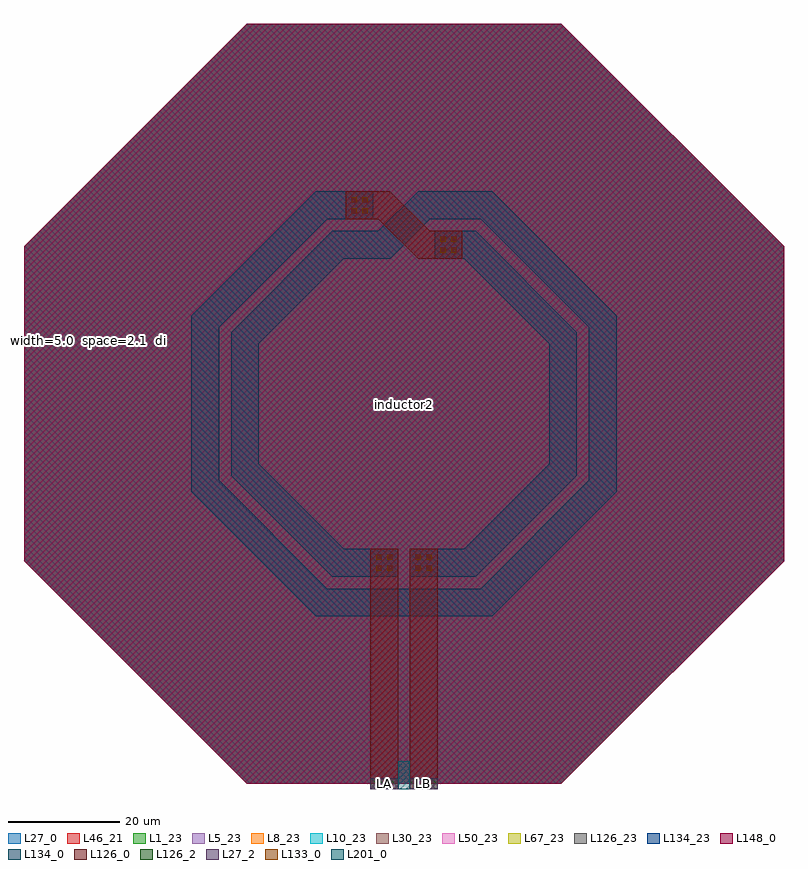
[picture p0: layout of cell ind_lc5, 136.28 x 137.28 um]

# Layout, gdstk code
import gdstk
lib = gdstk.Library(unit=1e-6, precision=1e-09)
def R(c, l, rs):  # rectangles x0, y0, x1, y1
    for r in rs: c.add(gdstk.rectangle(r[:2], r[2:], *l))
def P(c, l, *ps):  # polygons
    for p in ps: c.add(gdstk.Polygon(p, *l))
L1_23 = (1, 23)
L5_23 = (5, 23)
L8_23 = (8, 23)
L10_23 = (10, 23)
L27_0 = (27, 0)
L27_2 = (27, 2)
L30_23 = (30, 23)
L46_21 = (46, 21)
L50_23 = (50, 23)
L67_23 = (67, 23)
L126_0 = (126, 0)
L126_2 = (126, 2)
L126_23 = (126, 23)
L133_0 = (133, 0)
L134_0 = (134, 0)
L134_23 = (134, 23)
L148_0 = (148, 0)
L201_0 = (201, 0)

ind_lc5 = lib.new_cell('ind_lc5')
P(ind_lc5, L1_23, [(-28.22,0),(-68.14,39.92),(-68.14,96.36),(-28.22,136.28),(28.22,136.28),(68.14,96.36),(68.14,39.92),(28.22,0)])
P(ind_lc5, L5_23, [(-28.22,0),(-68.14,39.92),(-68.14,96.36),(-28.22,136.28),(28.22,136.28),(68.14,96.36),(68.14,39.92),(28.22,0)])
P(ind_lc5, L8_23, [(-28.22,0),(-68.14,39.92),(-68.14,96.36),(-28.22,136.28),(28.22,136.28),(68.14,96.36),(68.14,39.92),(28.22,0)])
P(ind_lc5, L10_23, [(-28.22,0),(-68.14,39.92),(-68.14,96.36),(-28.22,136.28),(28.22,136.28),(68.14,96.36),(68.14,39.92),(28.22,0)])
P(ind_lc5, L27_0, [(-28.22,0),(-68.14,39.92),(-68.14,96.36),(-28.22,136.28),(28.22,136.28),(68.14,96.36),(68.14,39.92),(28.22,0)])
R(ind_lc5, L27_2, [(-6.05,-1,-1.05,1), (1.05,-1,6.05,1)])
P(ind_lc5, L30_23, [(-28.22,0),(-68.14,39.92),(-68.14,96.36),(-28.22,136.28),(28.22,136.28),(68.14,96.36),(68.14,39.92),(28.22,0)])
P(ind_lc5, L46_21, [(-28.22,0),(-68.14,39.92),(-68.14,96.36),(-28.22,136.28),(28.22,136.28),(68.14,96.36),(68.14,39.92),(28.22,0)])
P(ind_lc5, L50_23, [(-28.22,0),(-68.14,39.92),(-68.14,96.36),(-28.22,136.28),(28.22,136.28),(68.14,96.36),(68.14,39.92),(28.22,0)])
P(ind_lc5, L67_23, [(-28.22,0),(-68.14,39.92),(-68.14,96.36),(-28.22,136.28),(28.22,136.28),(68.14,96.36),(68.14,39.92),(28.22,0)])
P(ind_lc5, L126_0, [(2.535,94.14),(-4.585,101.26),(-10.475,101.26),(-10.475,106.26),(-2.535,106.26),(4.585,99.14),(10.475,99.14),(10.475,94.14)])
R(ind_lc5, L126_2, [(-6.05,-1,-1.05,1), (-6.05,-1,-1.05,1), (1.05,-1,6.05,1), (1.05,-1,6.05,1)])
P(ind_lc5, L126_23, [(-28.22,0),(-68.14,39.92),(-68.14,96.36),(-28.22,136.28),(28.22,136.28),(68.14,96.36),(68.14,39.92),(28.22,0)])
R(ind_lc5, L133_0, [(-4.98,38.17,-4.08,39.07), (-3.02,38.17,-2.12,39.07), (2.12,38.17,3.02,39.07), (4.08,38.17,4.98,39.07), (-4.98,40.13,-4.08,41.03), (-3.02,40.13,-2.12,41.03), (2.12,40.13,3.02,41.03), (4.08,40.13,4.98,41.03), (6.545,95.21,7.445,96.11), (8.505,95.21,9.405,96.11), (6.545,97.17,7.445,98.07), (8.505,97.17,9.405,98.07), (-9.405,102.31,-8.505,103.21), (-7.445,102.31,-6.545,103.21), (-9.405,104.27,-8.505,105.17), (-7.445,104.27,-6.545,105.17)])
R(ind_lc5, L134_0, [(-5.475,30,5.475,35)])
P(ind_lc5, L134_0, [(1.05,37.1),(1.05,42.1),(10.775,42.1),(26.02,57.345),(26.02,78.895),(10.775,94.14),(5.475,94.14),(5.475,99.14),(12.855,99.14),(31.02,80.975),(31.02,55.265),(12.855,37.1)],
  [(-12.855,37.1),(-31.02,55.265),(-31.02,80.975),(-12.855,99.14),(-5.475,99.14),(-5.475,94.14),(-10.775,94.14),(-26.02,78.895),(-26.02,57.345),(-10.775,42.1),(-1.05,42.1),(-1.05,37.1)],
  [(-5.475,94.14),(-5.475,99.14),(-4.585,99.14),(2.535,106.26),(5.475,106.26),(5.475,101.26),(4.615,101.26),(-2.505,94.14)],
  [(5.475,30),(5.475,35),(13.72,35),(33.13,54.41),(33.13,81.85),(13.72,101.26),(5.475,101.26),(5.475,106.26),(15.8,106.26),(38.13,83.93),(38.13,52.33),(15.8,30)],
  [(-15.8,30),(-38.13,52.33),(-38.13,83.93),(-15.8,106.26),(-5.475,106.26),(-5.475,101.26),(-13.72,101.26),(-33.13,81.85),(-33.13,54.41),(-13.72,35),(-5.475,35),(-5.475,30)])
P(ind_lc5, L134_23, [(-28.22,0),(-68.14,39.92),(-68.14,96.36),(-28.22,136.28),(28.22,136.28),(68.14,96.36),(68.14,39.92),(28.22,0)])
P(ind_lc5, L148_0, [(-28.22,0),(-68.14,39.92),(-68.14,96.36),(-28.22,136.28),(28.22,136.28),(68.14,96.36),(68.14,39.92),(28.22,0)])
R(ind_lc5, L201_0, [(-1.05,-1,1.05,4)])
ind_lc5.add(gdstk.FlexPath([(3.55,-1),(3.55,42.1)], 5, ends="flush", simple_path=True, layer=126, datatype=0))  # L126_0
ind_lc5.add(gdstk.FlexPath([(-3.55,-1),(-3.55,42.1)], 5, ends="flush", simple_path=True, layer=126, datatype=0))  # L126_0
ind_lc5.add(gdstk.Label('LB', (3.55,0), layer=27, texttype=25))
ind_lc5.add(gdstk.Label('LA', (-3.55,0), layer=27, texttype=25))
ind_lc5.add(gdstk.Label('inductor2', (0,68.018), layer=63, texttype=0))
ind_lc5.add(gdstk.Label('  width=5.0\n  space=2.1\n  diameter=52.04\n  turns=2', (-68.14,79.54), layer=63, texttype=0))

lib.write_gds('ind_lc5.gds')
